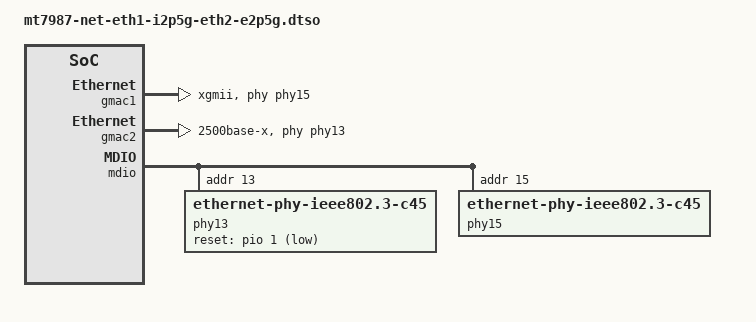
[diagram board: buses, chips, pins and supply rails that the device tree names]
// SPDX-License-Identifier: (GPL-2.0 OR MIT)

/dts-v1/;
/plugin/;

/ {
	fragment@0 {
		target = <&gmac1>;
		__overlay__ {
			compatible = "mediatek,eth-mac";
			reg = <1>;
			mac-type = "xgdm";
			phy-mode = "xgmii";
			phy-handle = <&phy15>;
		};
	};

	fragment@1 {
		target = <&gmac2>;
		__overlay__ {
			compatible = "mediatek,eth-mac";
			reg = <2>;
		        mac-type = "gdm";
		        phy-mode = "2500base-x";
			phy-handle = <&phy13>;
		};
	};

	fragment@2 {
		target = <&mdio>;
		__overlay__ {
			phy13: phy@13 {
				compatible = "ethernet-phy-ieee802.3-c45";
				reg = <13>;
				reset-gpios = <&pio 1 1>;
				reset-assert-us = <600>;
				reset-deassert-us = <20000>;
			};

			phy15: phy@15 {
				pinctrl-names = "i2p5gbe-led";
				pinctrl-0 = <&i2p5gbe_led0_pins>;
				compatible = "ethernet-phy-ieee802.3-c45";
				reg = <15>;
				phy-mode = "xgmii";
			};
		};
	};
};
